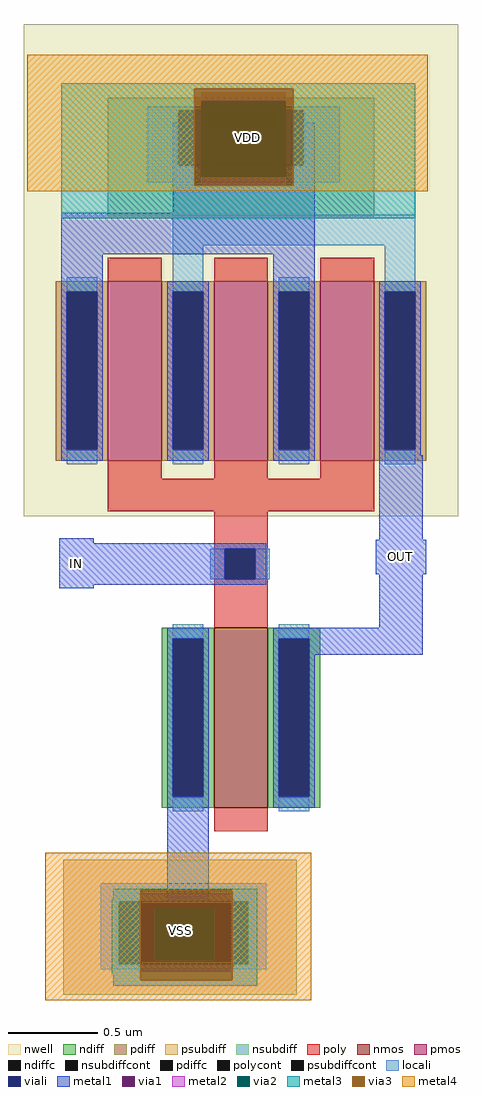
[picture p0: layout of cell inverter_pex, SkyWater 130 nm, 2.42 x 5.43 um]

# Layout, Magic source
magic
tech sky130B
<< nwell >>
rect 0 0 242 274
<< nmos >>
rect 106 -162 136 -62
<< pmos >>
rect 47 31 77 131
rect 106 31 136 131
rect 165 31 195 131
<< ndiff >>
rect 77 -68 106 -62
rect 77 -156 83 -68
rect 100 -156 106 -68
rect 77 -162 106 -156
rect 136 -68 165 -62
rect 136 -156 142 -68
rect 159 -156 165 -68
rect 136 -162 165 -156
<< pdiff >>
rect 18 125 47 131
rect 18 37 24 125
rect 41 37 47 125
rect 18 31 47 37
rect 77 125 106 131
rect 77 37 83 125
rect 100 37 106 125
rect 77 31 106 37
rect 136 125 165 131
rect 136 37 142 125
rect 159 37 165 125
rect 136 31 165 37
rect 195 125 224 131
rect 195 37 201 125
rect 218 37 224 125
rect 195 31 224 37
<< ndiffc >>
rect 83 -156 100 -68
rect 142 -156 159 -68
<< pdiffc >>
rect 24 37 41 125
rect 83 37 100 125
rect 142 37 159 125
rect 201 37 218 125
<< psubdiff >>
rect 22 -214 152 -191
rect 22 -249 53 -214
rect 125 -249 152 -214
rect 22 -266 152 -249
<< nsubdiff >>
rect 47 226 195 233
rect 47 195 86 226
rect 156 195 195 226
rect 47 167 195 195
<< psubdiffcont >>
rect 53 -249 125 -214
<< nsubdiffcont >>
rect 86 195 156 226
<< poly >>
rect 47 131 77 144
rect 106 131 136 144
rect 165 131 195 144
rect 47 21 77 31
rect 106 21 136 31
rect 165 21 195 31
rect 47 3 195 21
rect 106 -18 136 3
rect 106 -35 112 -18
rect 129 -35 136 -18
rect 106 -62 136 -35
rect 106 -175 136 -162
<< polycont >>
rect 112 -35 129 -18
<< locali >>
rect 69 226 176 228
rect 69 195 86 226
rect 156 195 176 226
rect 69 186 176 195
rect 83 151 218 168
rect 24 125 41 133
rect 24 29 41 37
rect 83 125 100 151
rect 83 29 100 37
rect 142 125 159 133
rect 142 29 159 37
rect 201 125 218 151
rect 201 29 218 37
rect 104 -35 112 -18
rect 129 -35 137 -18
rect 83 -68 100 -60
rect 83 -164 100 -156
rect 142 -68 159 -60
rect 142 -164 159 -156
rect 43 -214 135 -204
rect 43 -249 53 -214
rect 125 -249 135 -214
rect 43 -252 135 -249
<< viali >>
rect 96 198 144 216
rect 24 37 41 125
rect 83 37 100 125
rect 142 37 159 125
rect 201 37 218 125
rect 112 -35 129 -18
rect 83 -156 100 -68
rect 142 -156 159 -68
rect 71 -245 110 -218
<< metal1 >>
rect 98 219 103 226
rect 83 216 103 219
rect 141 219 146 226
rect 141 216 162 219
rect 83 198 96 216
rect 144 198 162 216
rect 83 189 103 198
rect 141 189 162 198
rect 83 169 162 189
rect 21 146 162 169
rect 21 125 44 146
rect 21 37 24 125
rect 41 37 44 125
rect 21 31 44 37
rect 80 125 103 131
rect 80 37 83 125
rect 100 37 103 125
rect 80 31 103 37
rect 139 125 162 146
rect 139 37 142 125
rect 159 37 162 125
rect 139 31 162 37
rect 198 125 221 131
rect 198 37 201 125
rect 218 37 221 125
rect 198 34 221 37
rect 20 -15 39 -12
rect 198 -13 222 34
rect 20 -18 135 -15
rect 20 -35 112 -18
rect 129 -35 135 -18
rect 196 -32 224 -13
rect 20 -38 135 -35
rect 20 -40 39 -38
rect 198 -62 222 -32
rect 80 -68 103 -62
rect 80 -156 83 -68
rect 100 -156 103 -68
rect 80 -215 103 -156
rect 139 -68 222 -62
rect 139 -156 142 -68
rect 159 -77 222 -68
rect 159 -156 162 -77
rect 139 -162 162 -156
rect 60 -248 65 -215
rect 116 -248 121 -215
<< via1 >>
rect 103 216 141 226
rect 103 198 141 216
rect 103 189 141 198
rect 65 -218 116 -215
rect 65 -245 71 -218
rect 71 -245 110 -218
rect 110 -245 116 -218
rect 65 -248 116 -245
<< metal2 >>
rect 99 231 146 236
rect 99 184 146 189
rect 65 -213 116 -210
rect 65 -215 117 -213
rect 116 -248 117 -215
rect 65 -252 117 -248
rect 65 -253 116 -252
<< via2 >>
rect 99 226 146 231
rect 99 189 103 226
rect 103 189 141 226
rect 141 189 146 226
rect 73 -247 106 -218
<< metal3 >>
rect 21 238 218 241
rect 21 184 95 238
rect 150 184 218 238
rect 21 166 218 184
rect 50 -208 130 -207
rect 50 -213 65 -208
rect 49 -254 65 -213
rect 50 -258 65 -254
rect 116 -258 130 -208
rect 50 -261 130 -258
<< via3 >>
rect 95 231 150 238
rect 95 189 99 231
rect 99 189 146 231
rect 146 189 150 231
rect 95 184 150 189
rect 65 -218 116 -208
rect 65 -247 73 -218
rect 73 -247 106 -218
rect 106 -247 116 -218
rect 65 -258 116 -247
<< metal4 >>
rect 2 238 225 257
rect 2 184 95 238
rect 150 184 225 238
rect 2 181 225 184
rect 12 -208 160 -187
rect 12 -258 65 -208
rect 116 -258 160 -208
rect 12 -269 160 -258
<< labels >>
flabel metal1 20 -40 39 -12 1 FreeSerif 160 0 0 0 IN
port 1 n
flabel metal1 196 -32 224 -13 1 FreeSerif 160 0 0 0 OUT
port 2 n
flabel metal4 66 184 183 238 1 FreeSerif 240 0 0 0 VDD
port 3 n
flabel metal4 45 -258 130 -203 1 FreeSerif 240 0 0 0 VSS
port 4 n
<< end >>
